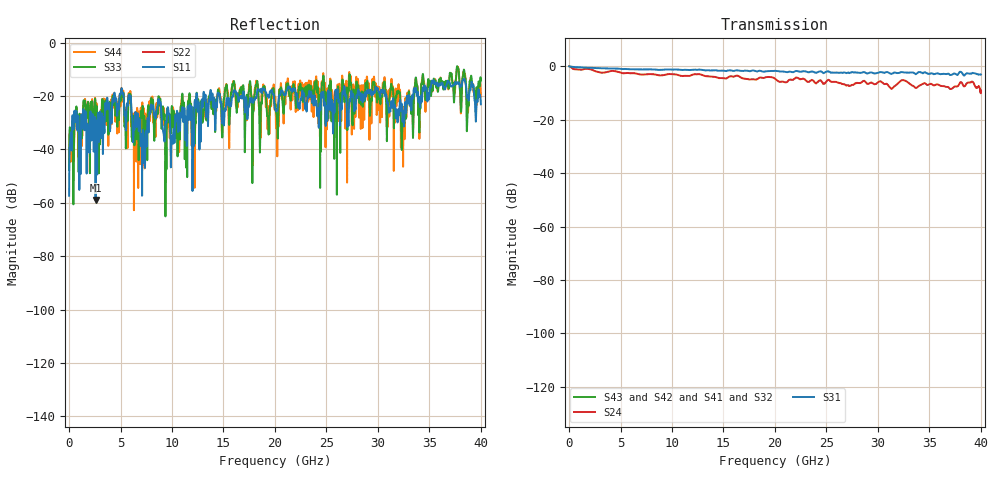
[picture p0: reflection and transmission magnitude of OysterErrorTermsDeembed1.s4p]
# MHz MA S R 50.0
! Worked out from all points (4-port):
!   8000 points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, 5 MHz to 40 GHz, reference 50 ohm
!   strongest paths, dB at 5 MHz, 10.01 GHz, 20 GHz, 30 GHz, 40 GHz:
!     S31: 0.0, -1.3, -1.7, -2.4, -3.1
!     S24: 0.0, -3.0, -4.6, -6.0, -9.0
!     S43: -, -, -, -, -
!     S42: -, -, -, -, -
!     S41: -, -, -, -, -
!     S32: -, -, -, -, -
!   lowest |S11| = -59.0 dB at 2.575 GHz (marker M1), VSWR 1.00, Z = 50 - j0.108 ohm
!   |S11| at or under -10 dB: start of sweep to end of sweep
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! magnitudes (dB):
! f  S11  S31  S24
! 5 MHz  -57.3  0.0  0.0
! 520 MHz  -25.5  -0.3  -1.1
! 2.575 GHz  -59.0  -0.7  -1.9
! 5.095 GHz  -17.1  -1.0  -2.5
! 7.235 GHz  -36.7  -1.2  -3.1
! 8.73 GHz  -21.8  -1.4  -3.4
! 40 GHz  -23.1  -3.1  -9.0
